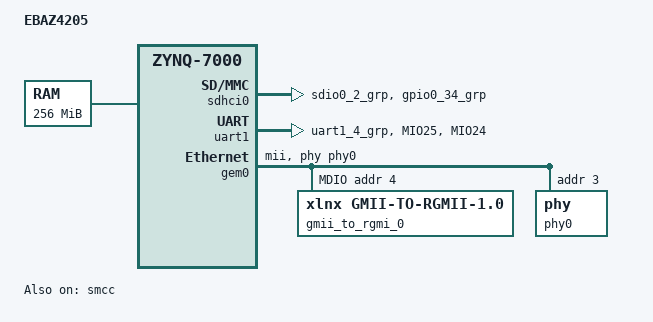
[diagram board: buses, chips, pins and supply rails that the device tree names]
// SPDX-License-Identifier: GPL-2.0
/*
 * Copyright (C) 2021 Michael Walle <michael@walle.cc>
 */
/dts-v1/;
/include/ "zynq-7000.dtsi"
/include/ "pl.dtsi"
/ {
	model = "EBAZ4205";
	compatible =  "xlnx,zynq-7000";

	aliases {	
		ethernet0 = &gem0;
		serial0 = &uart1;
		mmc0 = &sdhci0;

	};

	memory@0 {
		device_type = "memory";
		reg = <0x0 0x10000000>;
	};

	hellokeys@41200000 {
		compatible = "arrow, hellokeys";
		reg = <0x41200000 0x100>;
		clock-names = "s_axi_aclk";
		clocks = <&clkc 15>;
	};

	chosen {
		bootargs = "earlycon console=ttyPS0,115200n8 earlyprintk root=/dev/ram0 clk_ignore_unused";
		stdout-path = "serial0:115200n8";
	};
	amba_pl: amba_pl {
		#address-cells = <1>;
		#size-cells = <1>;
		compatible = "simple-bus";
		ranges ;
		axi_gpio_0: gpio@41200000 {
			#gpio-cells = <3>;
			clock-names = "s_axi_aclk";
			clocks = <&clkc 15>;
			compatible = "lark,trafgen";
			gpio-controller ;
			reg = <0x41200000 0x10000>;
			xlnx,all-inputs = <0x0>;
			xlnx,all-inputs-2 = <0x0>;
			xlnx,all-outputs = <0x1>;
			xlnx,all-outputs-2 = <0x0>;
			xlnx,dout-default = <0x00000000>;
			xlnx,dout-default-2 = <0x00000000>;
			xlnx,gpio-width = <0x2>;
			xlnx,gpio2-width = <0x20>;
			xlnx,interrupt-present = <0x0>;
			xlnx,is-dual = <0x0>;
			xlnx,tri-default = <0xFFFFFFFF>;
			xlnx,tri-default-2 = <0xFFFFFFFF>;
		};
	};
};



&clkc {
	ps-clk-frequency = <33333333>;
	fclk-enable = <1>;
};

&intc {
	num_cpus =<2>;
	num_interrupts =<96>;
};
&gpio0 {
	pinctrl-names = "default";
	pinctrl-0 = <&pinctrl_gpio0_default>;
};


&pinctrl0 {
	pinctrl_gpio0_default: gpio0-default {
		mux {
			groups = "gpio0_20_grp", "gpio0_32_grp";
		};

		conf {
			groups = "gpio0_20_grp", "gpio0_32_grp";
			io-standard = <3>;
			slew-rate = <0>;
		};

		conf-pull-up {
			pins = "MIO20", "MIO32";
			bias-disable;
		};
	};

	pinctrl_sdhci0_default: sdhci0-default {
		mux {
			groups = "sdio0_2_grp";
			function = "sdio0";
		};

		conf {
			groups = "sdio0_2_grp";
			io-standard = <3>;
			slew-rate = <0>;
			bias-disable;
		};

		mux-cd {
			groups = "gpio0_34_grp";
			function = "sdio0_cd";
		};

		conf-cd {
			groups = "gpio0_34_grp";
			io-standard = <3>;
			slew-rate = <0>;
			bias-high-impedance;
			bias-pull-up;
		};
	};

	pinctrl_uart1_default: uart1-default {
		mux {
			groups = "uart1_4_grp";
			function = "uart1";
		};

		conf {
			groups = "uart1_4_grp";
			io-standard = <3>;
			slew-rate = <0>;
		};

		conf-rx {
			pins = "MIO25";
			bias-high-impedance;
		};

		conf-tx {
			pins = "MIO24";
			bias-disable;
		};
	};
};

&smcc {
	status = "okay";
};

&sdhci0 {
	status = "okay";
	disable-wp;
	pinctrl-names = "default";
	pinctrl-0 = <&pinctrl_sdhci0_default>;
};

&uart1 {
	status = "okay";
	pinctrl-names = "default";
	pinctrl-0 = <&pinctrl_uart1_default>;
};
&gem0 {
	phy-handle = <&phy0>;
	phy-mode = "mii";
	status = "okay";
	xlnx,ptp-enet-clock = <0x69f6bcb>;
	local-mac-address = [00 0a 35 00 02 91];
	
	ps7_ethernet_0_mdio: mdio {
		#adress-cells = <1>;
		#size-cells = <0>;
		gmii_to_rgmi_0: gmii_to_rgmii_0@8 {
			compatible = "xlnx, gmii-to-rgmii-1.0";
			phy-handle = <&phy0>;
			reg = <4>;
		};
	};
	phy0: phy@3 {
		reg = <3>;
	};
};
